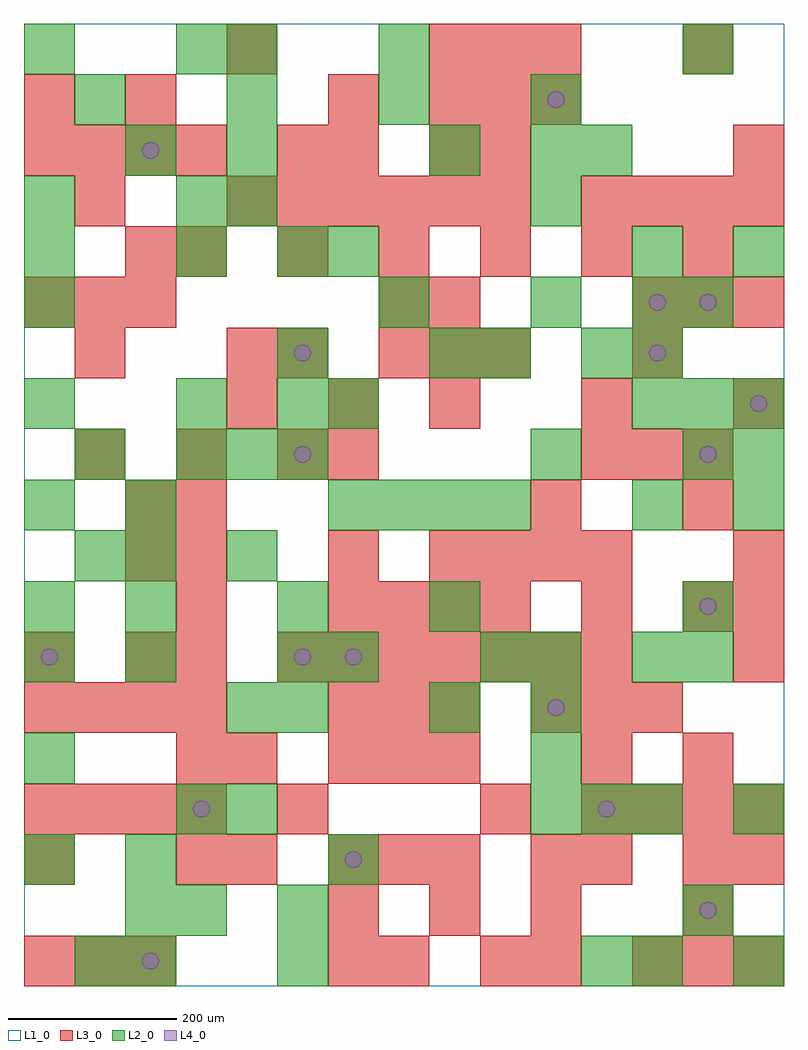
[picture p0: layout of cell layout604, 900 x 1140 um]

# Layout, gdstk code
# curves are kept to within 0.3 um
import gdstk
lib = gdstk.Library(unit=1e-6, precision=1e-09)
def R(c, l, rs):  # rectangles x0, y0, x1, y1
    for r in rs: c.add(gdstk.rectangle(r[:2], r[2:], *l))
def A(c, l, x, y, w, h, nx, ny, dx, dy):  # array of equal rectangles
    R(c, l, [(x+i*dx, y+j*dy, x+i*dx+w, y+j*dy+h) for i in range(nx) for j in range(ny)])
def P(c, l, *ps):  # polygons
    for p in ps: c.add(gdstk.Polygon(p, *l))
L1_0 = (1, 0)
L2_0 = (2, 0)
L3_0 = (3, 0)
L4_0 = (4, 0)

layout604 = lib.new_cell('layout604')
R(layout604, L1_0, [(0,0,900,1140)])
A(layout604, L2_0, 120, 0, 60, 60, 1, 3, 0, 60)
A(layout604, L2_0, 0, 120, 60, 60, 1, 3, 0, 120)
A(layout604, L2_0, 600, 180, 60, 60, 3, 1, 60, 0)
A(layout604, L2_0, 600, 240, 60, 60, 1, 3, 0, 60)
A(layout604, L2_0, 720, 360, 60, 60, 1, 3, 0, 180)
A(layout604, L2_0, 0, 420, 60, 60, 1, 4, 0, 120)
A(layout604, L2_0, 120, 420, 60, 60, 3, 1, 180, 0)
A(layout604, L2_0, 780, 420, 60, 60, 1, 3, 0, 180)
A(layout604, L2_0, 360, 540, 60, 60, 4, 1, 60, 0)
A(layout604, L2_0, 180, 600, 60, 60, 3, 1, 60, 0)
A(layout604, L2_0, 720, 660, 60, 60, 3, 1, 60, 0)
A(layout604, L2_0, 60, 1020, 60, 60, 4, 1, 180, 0)
R(layout604, L2_0, [(60,0,120,60), (300,0,360,60), (660,0,720,60), (720,0,780,60), (840,0,900,60), (180,60,240,120), (300,60,360,120), (780,60,840,120), (360,120,420,180), (180,180,240,240), (240,180,300,240), (840,180,900,240), (240,300,300,360), (300,300,360,360), (480,300,540,360), (120,360,180,420), (300,360,360,420), (360,360,420,420), (540,360,600,420), (780,360,840,420), (60,480,120,540), (120,480,180,540), (240,480,300,540), (120,540,180,600), (840,540,900,600), (60,600,120,660), (600,600,660,660), (840,600,900,660), (180,660,240,720), (300,660,360,720), (360,660,420,720), (300,720,360,780), (480,720,540,780), (540,720,600,780), (660,720,720,780), (420,780,480,840), (600,780,660,840), (720,780,780,840), (0,840,60,900), (180,840,240,900), (300,840,360,900), (360,840,420,900), (720,840,780,900), (840,840,900,900), (0,900,60,960), (180,900,240,960), (240,900,300,960), (600,900,660,960), (120,960,180,1020), (240,960,300,1020), (480,960,540,1020), (600,960,660,1020), (660,960,720,1020), (0,1080,60,1140), (180,1080,240,1140), (240,1080,300,1140), (420,1080,480,1140), (780,1080,840,1140)])
A(layout604, L3_0, 0, 0, 60, 60, 3, 2, 60, 780)
A(layout604, L3_0, 720, 0, 60, 60, 3, 2, 60, 780)
A(layout604, L3_0, 360, 60, 60, 60, 3, 1, 120, 0)
A(layout604, L3_0, 180, 120, 60, 60, 1, 3, 0, 120)
A(layout604, L3_0, 360, 120, 60, 60, 3, 2, 60, 120)
A(layout604, L3_0, 0, 180, 60, 60, 4, 2, 60, 120)
A(layout604, L3_0, 660, 180, 60, 60, 4, 2, 60, 720)
A(layout604, L3_0, 360, 300, 60, 60, 3, 1, 60, 0)
A(layout604, L3_0, 600, 300, 60, 60, 3, 1, 60, 0)
A(layout604, L3_0, 300, 360, 60, 60, 7, 1, 60, 0)
A(layout604, L3_0, 840, 360, 60, 60, 1, 3, 0, 60)
A(layout604, L3_0, 180, 420, 60, 60, 1, 3, 0, 60)
A(layout604, L3_0, 360, 420, 60, 60, 4, 1, 60, 0)
A(layout604, L3_0, 480, 480, 60, 60, 4, 1, 60, 0)
A(layout604, L3_0, 60, 600, 60, 60, 3, 1, 120, 0)
A(layout604, L3_0, 660, 600, 60, 60, 3, 1, 60, 0)
A(layout604, L3_0, 240, 660, 60, 60, 3, 1, 120, 0)
A(layout604, L3_0, 420, 720, 60, 60, 3, 1, 60, 0)
A(layout604, L3_0, 180, 840, 60, 60, 6, 1, 120, 0)
A(layout604, L3_0, 240, 900, 60, 60, 6, 1, 60, 0)
A(layout604, L3_0, 0, 960, 60, 60, 4, 1, 60, 0)
A(layout604, L3_0, 480, 1020, 60, 60, 3, 2, 60, 60)
R(layout604, L3_0, [(360,0,420,60), (420,0,480,60), (540,0,600,60), (600,0,660,60), (780,60,840,120), (0,120,60,180), (240,120,300,180), (600,120,660,180), (660,120,720,180), (780,120,840,180), (840,120,900,180), (300,180,360,240), (540,180,600,240), (240,240,300,300), (660,240,720,300), (780,240,840,300), (0,360,60,420), (120,360,180,420), (660,420,720,480), (780,420,840,480), (120,480,180,540), (360,480,420,540), (120,540,180,600), (600,540,660,600), (780,540,840,600), (360,600,420,660), (660,660,720,720), (840,660,900,720), (60,720,120,780), (240,720,300,780), (300,720,360,780), (720,720,780,780), (420,780,480,840), (480,780,540,840), (120,840,180,900), (60,900,120,960), (300,960,360,1020), (360,960,420,1020), (480,960,540,1020), (540,960,600,1020), (840,960,900,1020), (0,1020,60,1080), (120,1020,180,1080), (360,1020,420,1080), (240,1080,300,1140), (780,1080,840,1140)])
P(layout604, L4_0, [(40,390),(39.239,393.827),(37.071,397.071),(33.827,399.239),(30,400),(26.173,399.239),(22.929,397.071),(20.761,393.827),(20,390),(20.761,386.173),(22.929,382.929),(26.173,380.761),(30,380),(33.827,380.761),(37.071,382.929),(39.239,386.173)],
  [(160,30),(159.239,33.827),(157.071,37.071),(153.827,39.239),(150,40),(146.173,39.239),(142.929,37.071),(140.761,33.827),(140,30),(140.761,26.173),(142.929,22.929),(146.173,20.761),(150,20),(153.827,20.761),(157.071,22.929),(159.239,26.173)],
  [(160,990),(159.239,993.827),(157.071,997.071),(153.827,999.239),(150,1000),(146.173,999.239),(142.929,997.071),(140.761,993.827),(140,990),(140.761,986.173),(142.929,982.929),(146.173,980.761),(150,980),(153.827,980.761),(157.071,982.929),(159.239,986.173)],
  [(220,210),(219.239,213.827),(217.071,217.071),(213.827,219.239),(210,220),(206.173,219.239),(202.929,217.071),(200.761,213.827),(200,210),(200.761,206.173),(202.929,202.929),(206.173,200.761),(210,200),(213.827,200.761),(217.071,202.929),(219.239,206.173)],
  [(340,390),(339.239,393.827),(337.071,397.071),(333.827,399.239),(330,400),(326.173,399.239),(322.929,397.071),(320.761,393.827),(320,390),(320.761,386.173),(322.929,382.929),(326.173,380.761),(330,380),(333.827,380.761),(337.071,382.929),(339.239,386.173)],
  [(340,630),(339.239,633.827),(337.071,637.071),(333.827,639.239),(330,640),(326.173,639.239),(322.929,637.071),(320.761,633.827),(320,630),(320.761,626.173),(322.929,622.929),(326.173,620.761),(330,620),(333.827,620.761),(337.071,622.929),(339.239,626.173)],
  [(340,750),(339.239,753.827),(337.071,757.071),(333.827,759.239),(330,760),(326.173,759.239),(322.929,757.071),(320.761,753.827),(320,750),(320.761,746.173),(322.929,742.929),(326.173,740.761),(330,740),(333.827,740.761),(337.071,742.929),(339.239,746.173)],
  [(400,150),(399.239,153.827),(397.071,157.071),(393.827,159.239),(390,160),(386.173,159.239),(382.929,157.071),(380.761,153.827),(380,150),(380.761,146.173),(382.929,142.929),(386.173,140.761),(390,140),(393.827,140.761),(397.071,142.929),(399.239,146.173)],
  [(400,390),(399.239,393.827),(397.071,397.071),(393.827,399.239),(390,400),(386.173,399.239),(382.929,397.071),(380.761,393.827),(380,390),(380.761,386.173),(382.929,382.929),(386.173,380.761),(390,380),(393.827,380.761),(397.071,382.929),(399.239,386.173)],
  [(640,330),(639.239,333.827),(637.071,337.071),(633.827,339.239),(630,340),(626.173,339.239),(622.929,337.071),(620.761,333.827),(620,330),(620.761,326.173),(622.929,322.929),(626.173,320.761),(630,320),(633.827,320.761),(637.071,322.929),(639.239,326.173)],
  [(640,1050),(639.239,1053.827),(637.071,1057.071),(633.827,1059.239),(630,1060),(626.173,1059.239),(622.929,1057.071),(620.761,1053.827),(620,1050),(620.761,1046.173),(622.929,1042.929),(626.173,1040.761),(630,1040),(633.827,1040.761),(637.071,1042.929),(639.239,1046.173)],
  [(700,210),(699.239,213.827),(697.071,217.071),(693.827,219.239),(690,220),(686.173,219.239),(682.929,217.071),(680.761,213.827),(680,210),(680.761,206.173),(682.929,202.929),(686.173,200.761),(690,200),(693.827,200.761),(697.071,202.929),(699.239,206.173)],
  [(760,750),(759.239,753.827),(757.071,757.071),(753.827,759.239),(750,760),(746.173,759.239),(742.929,757.071),(740.761,753.827),(740,750),(740.761,746.173),(742.929,742.929),(746.173,740.761),(750,740),(753.827,740.761),(757.071,742.929),(759.239,746.173)],
  [(760,810),(759.239,813.827),(757.071,817.071),(753.827,819.239),(750,820),(746.173,819.239),(742.929,817.071),(740.761,813.827),(740,810),(740.761,806.173),(742.929,802.929),(746.173,800.761),(750,800),(753.827,800.761),(757.071,802.929),(759.239,806.173)],
  [(820,90),(819.239,93.827),(817.071,97.071),(813.827,99.239),(810,100),(806.173,99.239),(802.929,97.071),(800.761,93.827),(800,90),(800.761,86.173),(802.929,82.929),(806.173,80.761),(810,80),(813.827,80.761),(817.071,82.929),(819.239,86.173)],
  [(820,450),(819.239,453.827),(817.071,457.071),(813.827,459.239),(810,460),(806.173,459.239),(802.929,457.071),(800.761,453.827),(800,450),(800.761,446.173),(802.929,442.929),(806.173,440.761),(810,440),(813.827,440.761),(817.071,442.929),(819.239,446.173)],
  [(820,630),(819.239,633.827),(817.071,637.071),(813.827,639.239),(810,640),(806.173,639.239),(802.929,637.071),(800.761,633.827),(800,630),(800.761,626.173),(802.929,622.929),(806.173,620.761),(810,620),(813.827,620.761),(817.071,622.929),(819.239,626.173)],
  [(820,810),(819.239,813.827),(817.071,817.071),(813.827,819.239),(810,820),(806.173,819.239),(802.929,817.071),(800.761,813.827),(800,810),(800.761,806.173),(802.929,802.929),(806.173,800.761),(810,800),(813.827,800.761),(817.071,802.929),(819.239,806.173)],
  [(880,690),(879.239,693.827),(877.071,697.071),(873.827,699.239),(870,700),(866.173,699.239),(862.929,697.071),(860.761,693.827),(860,690),(860.761,686.173),(862.929,682.929),(866.173,680.761),(870,680),(873.827,680.761),(877.071,682.929),(879.239,686.173)])

lib.write_gds('layout604.gds')
